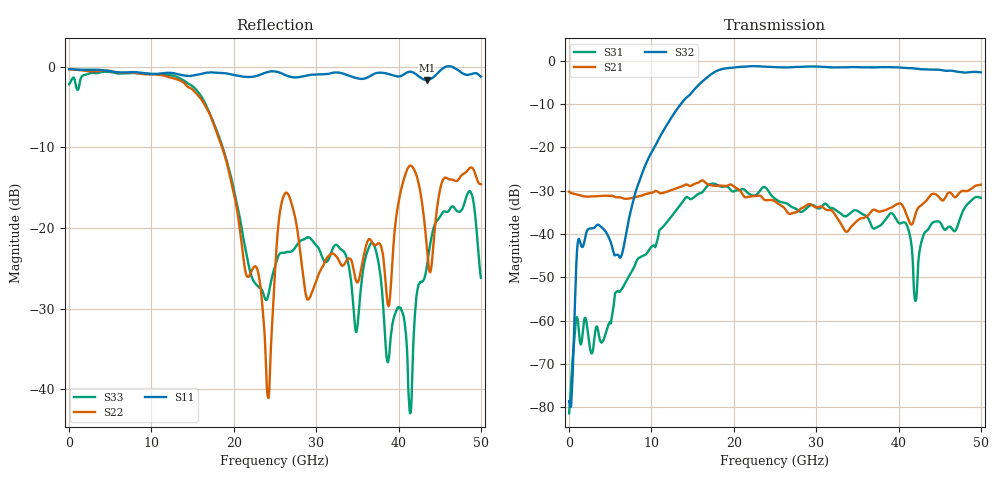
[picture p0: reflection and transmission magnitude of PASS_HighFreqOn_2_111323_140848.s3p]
!Keysight Technologies,N5225A,MY51451266,A.10.64.09
!Date: Monday, November 13, 2023 14:08:48
!Correction: S11(Full 3 Port(1,2,3))
!S12(Full 3 Port(1,2,3))
!S13(Full 3 Port(1,2,3))
!S21(Full 3 Port(1,2,3))
!S22(Full 3 Port(1,2,3))
!S23(Full 3 Port(1,2,3))
!S31(Full 3 Port(1,2,3))
!S32(Full 3 Port(1,2,3))
!S33(Full 3 Port(1,2,3))
!S3P File: Measurements: <S11,S12,S13>,
!<S21,S22,S23>,
!<S31,S32,S33>:
# Hz S  dB  R 50
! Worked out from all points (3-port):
!   5000 points, 10 MHz to 50 GHz, reference 50 ohm
!   strongest paths, dB at 10 MHz, 12.51 GHz, 25.01 GHz, 37.51 GHz, 50 GHz:
!     S32: -78.7, -12.9, -1.5, -1.5, -2.7
!     S21: -30.2, -29.8, -32.5, -34.8, -28.6
!     S31: -81.4, -35.8, -31.9, -38.3, -31.6
!   lowest |S11| = -1.7 dB at 43.47 GHz (marker M1), VSWR 10.54, Z = 7.19 + j35.6 ohm
!   |S11| at or under -10 dB: nowhere
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1e7  -0.31 179.1  -30.23 -4.4  -70.65 -7.8
     -30.24 -3.3  -0.32 178.7  -75.60 -137.2
     -81.36 -128.8  -78.70 -137.1  -2.16 -44.7
1.21e9  -0.38 164.1  -31.02 -15.8  -62.71 -4.7
        -31.01 -15.8  -0.42 158.4  -41.13 118.3
        -62.72 -4.5  -41.15 118.3  -2.51 -175.9
9.41e9  -0.88 80.6  -30.74 -96.3  -44.56 94.7
        -30.73 -96.2  -0.96 7.3  -23.47 99.9
        -44.55 94.8  -23.48 99.9  -0.84 31.1
1.435e10  -1.16 25.8  -28.64 -167.9  -31.50 16.7
          -28.62 -168.0  -2.45 -93.7  -8.38 1.0
          -31.49 16.8  -8.39 1.1  -2.03 -68.3
1.858e10  -0.80 -17.3  -28.88 109.1  -29.11 -66.4
          -28.86 109.0  -10.01 163.0  -1.95 -103.1
          -29.10 -66.3  -1.95 -103.0  -9.77 -172.6
2.501e10  -0.60 -77.0  -32.51 -11.3  -31.87 -158.3
          -32.48 -11.5  -25.38 11.6  -1.50 128.7
          -31.86 -158.1  -1.50 128.9  -24.78 7.3
3.331e10  -0.88 -151.3  -38.69 -128.4  -35.80 110.7
          -38.69 -128.6  -24.62 -93.7  -1.56 -4.3
          -35.78 110.7  -1.56 -4.2  -22.86 -54.3
4.14e10  -0.63 123.8  -37.60 141.3  -40.53 20.4
         -37.53 141.3  -12.27 74.3  -1.73 -125.1
         -40.49 20.9  -1.74 -124.9  -42.98 77.0
4.347e10  -1.65 108.3  -32.14 122.4  -39.22 86.0
          -32.10 122.3  -22.86 126.7  -2.04 -155.2
          -39.19 86.0  -2.05 -155.0  -24.57 96.4
5e10  -1.25 68.7  -28.67 52.2  -31.73 30.5
      -28.61 52.0  -14.58 2.4  -2.72 109.0
      -31.63 30.7  -2.71 109.3  -26.19 61.7
